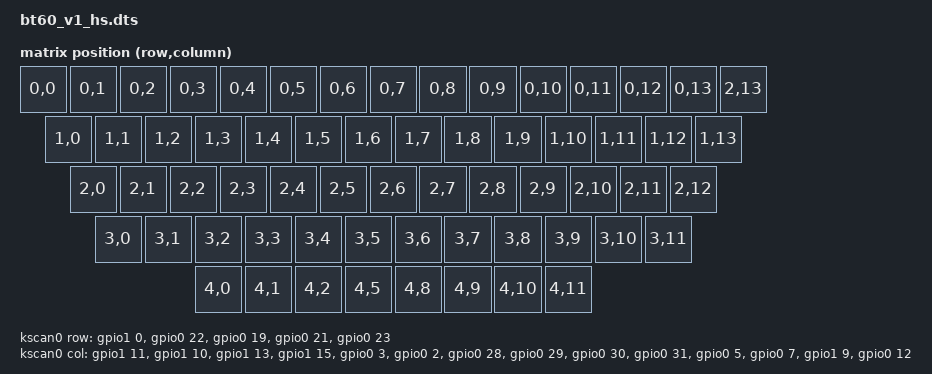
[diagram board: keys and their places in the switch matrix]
/*
* Copyright (c) 2021 Polarity Works
*
* SPDX-License-Identifier: MIT
*/

/dts-v1/;
#include "bt60.dtsi"


/ {
    chosen {
        zmk,kscan = &kscan0;
        zmk,matrix-transform = &default_transform;
    };

    default_transform: keymap_transform_0 {
        compatible = "zmk,matrix-transform";
        columns = <15>;
        rows = <5>;
        map = <
            RC(0,0) RC(0,1) RC(0,2) RC(0,3) RC(0,4) RC(0,5) RC(0,6) RC(0,7) RC(0,8) RC(0,9) RC(0,10) RC(0,11) RC(0,12)     RC(0,13) RC(2,13)
            RC(1,0)   RC(1,1) RC(1,2) RC(1,3) RC(1,4) RC(1,5) RC(1,6) RC(1,7) RC(1,8) RC(1,9) RC(1,10) RC(1,11) RC(1,12)   RC(1,13)
            RC(2,0)     RC(2,1) RC(2,2) RC(2,3) RC(2,4) RC(2,5) RC(2,6) RC(2,7) RC(2,8) RC(2,9) RC(2,10) RC(2,11)          RC(2,12)
            RC(3,0)       RC(3,1) RC(3,2) RC(3,3) RC(3,4) RC(3,5) RC(3,6) RC(3,7) RC(3,8) RC(3,9)  RC(3,10)               RC(3,11)
            RC(4,0)   RC(4,1)   RC(4,2)                      RC(4,5)                     RC(4,8)   RC(4,9)    RC(4,10)     RC(4,11)
        >;
    };


    kscan0: kscan_0 {
        compatible = "zmk,kscan-gpio-matrix";
        diode-direction = "col2row";

        col-gpios
            = <&gpio1 11 GPIO_ACTIVE_HIGH>
            , <&gpio1 10 GPIO_ACTIVE_HIGH>
            , <&gpio1 13 GPIO_ACTIVE_HIGH>
            , <&gpio1 15 GPIO_ACTIVE_HIGH>
            , <&gpio0 3 GPIO_ACTIVE_HIGH>
            , <&gpio0 2 GPIO_ACTIVE_HIGH>
            , <&gpio0 28 GPIO_ACTIVE_HIGH>
            , <&gpio0 29 GPIO_ACTIVE_HIGH>
            , <&gpio0 30 GPIO_ACTIVE_HIGH>
            , <&gpio0 31 GPIO_ACTIVE_HIGH>
            , <&gpio0 5 GPIO_ACTIVE_HIGH>
            , <&gpio0 7 GPIO_ACTIVE_HIGH>
            , <&gpio1 9 GPIO_ACTIVE_HIGH>
            , <&gpio0 12 GPIO_ACTIVE_HIGH>
            ;

        row-gpios
            = <&gpio1 0 (GPIO_ACTIVE_HIGH | GPIO_PULL_DOWN)>
            , <&gpio0 22 (GPIO_ACTIVE_HIGH | GPIO_PULL_DOWN)>
            , <&gpio0 19 (GPIO_ACTIVE_HIGH | GPIO_PULL_DOWN)>
            , <&gpio0 21 (GPIO_ACTIVE_HIGH | GPIO_PULL_DOWN)>
            , <&gpio0 23 (GPIO_ACTIVE_HIGH | GPIO_PULL_DOWN)>
            ;
    };
};
